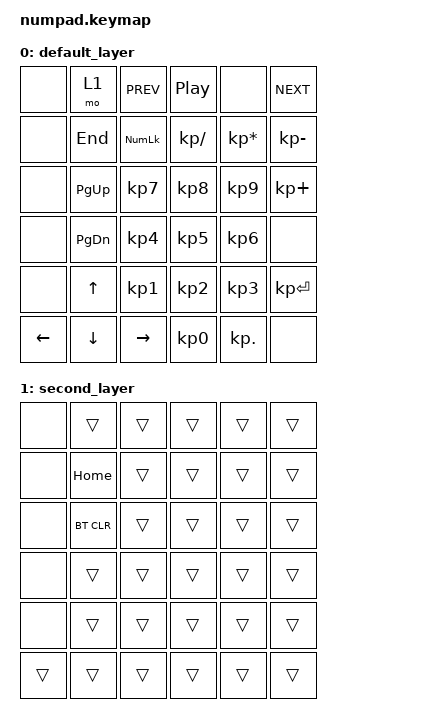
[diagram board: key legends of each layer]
#include <behaviors.dtsi>
#include <dt-bindings/zmk/keys.h>
#include <dt-bindings/zmk/bt.h>

/ { 
    keymap {
	compatible = "zmk,keymap";

	default_layer {
	    bindings = <
&none    &mo 1     &kp C_PREV &kp C_PP      &none           &kp C_NEXT           
&none    &kp END   &kp KP_NUM &kp KP_DIVIDE &kp KP_MULTIPLY &kp KP_MINUS
&none    &kp PG_UP &kp KP_N7  &kp KP_N8     &kp KP_N9       &kp KP_PLUS 
&none    &kp PG_DN &kp KP_N4  &kp KP_N5     &kp KP_N6       &none 
&none    &kp UP    &kp KP_N1  &kp KP_N2     &kp KP_N3       &kp KP_ENTER 
&kp LEFT &kp DOWN  &kp RIGHT  &kp KP_N0     &kp KP_DOT      &none
	    >;
	};

	second_layer {
	    bindings = <
&none    &trans       &trans   &trans   &trans   &trans
&none    &kp HOME     &trans   &trans   &trans   &trans
&none    &bt BT_CLR   &trans   &trans   &trans   &trans
&none    &trans       &trans   &trans   &trans   &trans
&none    &trans       &trans   &trans   &trans   &trans
&trans   &trans       &trans   &trans   &trans   &trans   
	    >;
	};
    };
};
